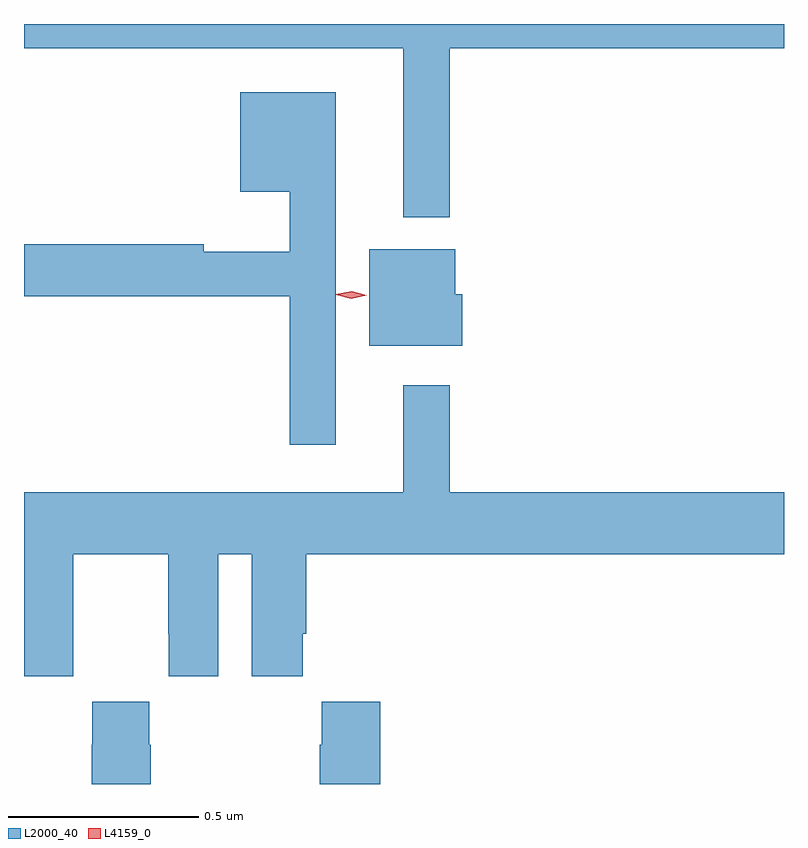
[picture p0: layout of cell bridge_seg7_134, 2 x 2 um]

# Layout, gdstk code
import gdstk
lib = gdstk.Library(unit=1e-6, precision=1e-09)
def P(c, l, *ps):  # polygons
    for p in ps: c.add(gdstk.Polygon(p, *l))
L2000_40 = (2000, 40)
L4159_0 = (4159, 0)

bridge_seg7_134 = lib.new_cell('bridge_seg7_134')
P(bridge_seg7_134, L2000_40, [(783.073,1004.612),(783.953,1004.612),(783.953,1004.676),(781.953,1004.676),(781.953,1004.612),(782.951,1004.612),(782.951,1004.168),(783.073,1004.168)],
  [(782.773,1004.497),(782.522,1004.497),(782.522,1004.234),(782.652,1004.234),(782.652,1004.077),(782.426,1004.077),(782.426,1004.096),(781.953,1004.096),(781.953,1003.96),(782.652,1003.96),(782.652,1003.569),(782.773,1003.569)],
  [(783.106,1003.965),(783.088,1003.965),(783.088,1004.083),(782.861,1004.083),(782.861,1003.829),(783.106,1003.829)],
  [(782.082,1003.072),(782.083,1003.072),(782.083,1003.28),(782.333,1003.28),(782.333,1003.072),(782.334,1003.072),(782.334,1002.96),(782.464,1002.96),(782.464,1003.28),(782.552,1003.28),(782.552,1002.96),(782.686,1002.96),(782.686,1003.072),(782.696,1003.072),(782.696,1003.28),(783.953,1003.28),(783.953,1003.444),(783.073,1003.444),(783.073,1003.726),(782.951,1003.726),(782.951,1003.444),(781.953,1003.444),(781.953,1002.96),(782.082,1002.96)],
  [(782.891,1002.892),(782.737,1002.892),(782.737,1002.779),(782.731,1002.779),(782.731,1002.676),(782.891,1002.676)],
  [(782.286,1002.779),(782.283,1002.779),(782.283,1002.892),(782.133,1002.892),(782.133,1002.779),(782.131,1002.779),(782.131,1002.676),(782.286,1002.676)])
P(bridge_seg7_134, L4159_0, [(782.814,1003.953),(782.774,1003.964),(782.774,1003.964),(782.774,1003.965),(782.815,1003.973),(782.855,1003.962),(782.855,1003.962),(782.855,1003.962)])

lib.write_gds('bridge_seg7_134.gds')
